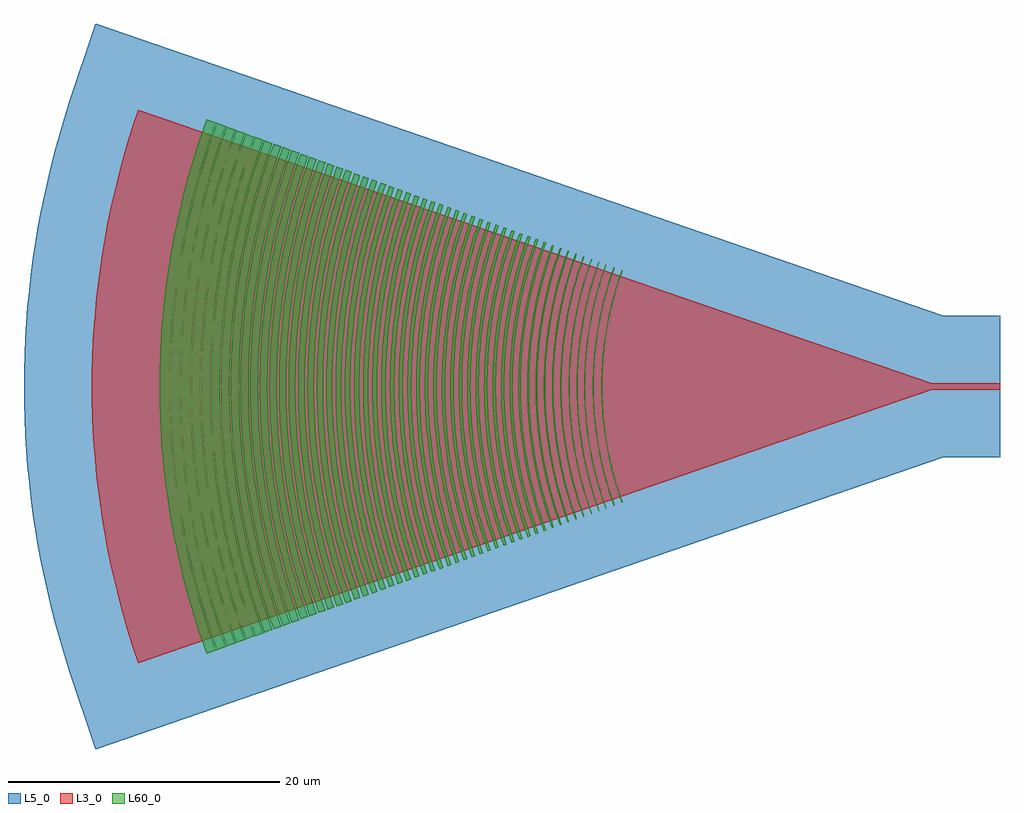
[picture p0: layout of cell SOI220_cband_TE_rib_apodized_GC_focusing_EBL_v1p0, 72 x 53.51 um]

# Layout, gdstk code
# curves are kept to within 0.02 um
import gdstk
lib = gdstk.Library(unit=1e-6, precision=1e-09)
def P(c, l, *ps):  # polygons
    for p in ps: c.add(gdstk.Polygon(p, *l))
L3_0 = (3, 0)
L5_0 = (5, 0)
L60_0 = (60, 0)

soi220_cband_te_rib_apod = lib.new_cell('SOI220_cband_TE_rib_apodized_GC_focusing_EBL_v1p0')
P(soi220_cband_te_rib_apod, L3_0, [(-63.588,-20.398),(-64.574,-17.27),(-65.14,-15.157),(-65.85,-11.955),(-66.23,-9.801),(-66.534,-7.636),(-66.763,-5.461),(-66.963,-2.187),(-67.001,0),(-66.963,2.187),(-66.763,5.461),(-66.534,7.636),(-66.23,9.801),(-65.85,11.955),(-65.14,15.157),(-64.574,17.27),(-63.588,20.398),(-5,0.225),(0,0.225),(0,-0.225),(-5,-0.225)])
P(soi220_cband_te_rib_apod, L5_0, [(-66.688,-26.753),(-66.748,-26.723),(-68.69,-20.904),(-69.38,-18.649),(-69.992,-16.366),(-70.523,-14.066),(-70.758,-12.909),(-71.169,-10.583),(-71.497,-8.246),(-71.631,-7.073),(-71.744,-5.896),(-71.908,-3.542),(-71.96,-2.361),(-72.001,0),(-71.96,2.361),(-71.908,3.542),(-71.744,5.896),(-71.631,7.073),(-71.497,8.246),(-71.169,10.583),(-70.758,12.909),(-70.523,14.066),(-69.992,16.366),(-69.38,18.649),(-68.69,20.904),(-66.748,26.723),(-66.688,26.753),(-4.163,5.225),(0,5.225),(0,-5.225),(-4.163,-5.225)])
P(soi220_cband_te_rib_apod, L60_0, [(-27.895,-8.571),(-28.042,-8.159),(-28.247,-7.536),(-28.437,-6.908),(-28.553,-6.486),(-28.813,-5.424),(-28.947,-4.781),(-29.026,-4.351),(-29.131,-3.704),(-29.221,-3.054),(-29.312,-2.184),(-29.383,-1.093),(-29.407,0),(-29.383,1.093),(-29.312,2.184),(-29.221,3.054),(-29.131,3.704),(-29.026,4.351),(-28.947,4.781),(-28.813,5.424),(-28.553,6.486),(-28.437,6.908),(-28.247,7.536),(-28.042,8.159),(-27.895,8.571),(-27.839,8.551),(-28.055,7.933),(-28.255,7.309),(-28.438,6.681),(-28.604,6.048),(-28.801,5.198),(-29.004,4.126),(-29.161,3.047),(-29.252,2.179),(-29.323,1.09),(-29.347,0),(-29.323,-1.09),(-29.252,-2.179),(-29.161,-3.047),(-29.004,-4.126),(-28.801,-5.198),(-28.604,-6.048),(-28.438,-6.681),(-28.255,-7.309),(-28.055,-7.933),(-27.839,-8.551)],
  [(-28.487,-8.786),(-28.638,-8.364),(-28.848,-7.725),(-28.98,-7.296),(-29.162,-6.65),(-29.428,-5.56),(-29.647,-4.461),(-29.817,-3.353),(-29.897,-2.685),(-29.939,-2.239),(-29.975,-1.792),(-30.013,-1.121),(-30.037,0),(-30.013,1.121),(-29.975,1.792),(-29.939,2.239),(-29.897,2.685),(-29.817,3.353),(-29.647,4.461),(-29.428,5.56),(-29.162,6.65),(-28.98,7.296),(-28.848,7.725),(-28.638,8.364),(-28.487,8.786),(-28.431,8.766),(-28.653,8.133),(-28.791,7.707),(-28.984,7.065),(-29.161,6.417),(-29.417,5.329),(-29.588,4.451),(-29.758,3.345),(-29.837,2.679),(-29.879,2.234),(-29.915,1.788),(-29.953,1.118),(-29.977,0),(-29.953,-1.118),(-29.915,-1.788),(-29.879,-2.234),(-29.837,-2.679),(-29.758,-3.345),(-29.588,-4.451),(-29.417,-5.329),(-29.161,-6.417),(-28.984,-7.065),(-28.791,-7.707),(-28.653,-8.133),(-28.431,-8.766)],
  [(-29.089,-9.005),(-29.316,-8.354),(-29.457,-7.917),(-29.592,-7.478),(-29.779,-6.814),(-29.894,-6.37),(-30.052,-5.699),(-30.148,-5.249),(-30.276,-4.572),(-30.352,-4.118),(-30.45,-3.437),(-30.507,-2.981),(-30.576,-2.294),(-30.627,-1.608),(-30.651,-1.149),(-30.667,-0.69),(-30.676,0),(-30.667,0.69),(-30.651,1.149),(-30.627,1.608),(-30.576,2.294),(-30.507,2.981),(-30.45,3.437),(-30.352,4.118),(-30.276,4.572),(-30.148,5.249),(-30.052,5.699),(-29.894,6.37),(-29.779,6.814),(-29.592,7.478),(-29.457,7.917),(-29.316,8.354),(-29.089,9.005),(-29.032,8.985),(-29.259,8.335),(-29.468,7.68),(-29.661,7.02),(-29.836,6.355),(-30.089,5.237),(-30.256,4.336),(-30.42,3.201),(-30.472,2.746),(-30.535,2.061),(-30.591,1.146),(-30.607,0.688),(-30.616,0),(-30.6,-0.917),(-30.567,-1.604),(-30.535,-2.061),(-30.495,-2.518),(-30.42,-3.201),(-30.256,-4.336),(-30.089,-5.237),(-29.836,-6.355),(-29.661,-7.02),(-29.468,-7.68),(-29.259,-8.335),(-29.032,-8.985)],
  [(-29.603,-9.192),(-29.76,-8.75),(-29.98,-8.082),(-30.118,-7.633),(-30.308,-6.956),(-30.587,-5.817),(-30.685,-5.358),(-30.816,-4.667),(-30.994,-3.508),(-31.052,-3.043),(-31.122,-2.342),(-31.159,-1.875),(-31.198,-1.173),(-31.215,-0.704),(-31.224,0),(-31.215,0.704),(-31.198,1.173),(-31.159,1.875),(-31.122,2.342),(-31.052,3.043),(-30.994,3.508),(-30.816,4.667),(-30.685,5.358),(-30.587,5.817),(-30.308,6.956),(-30.118,7.633),(-29.98,8.082),(-29.76,8.75),(-29.603,9.192),(-29.547,9.172),(-29.703,8.731),(-29.923,8.064),(-30.125,7.392),(-30.31,6.714),(-30.477,6.033),(-30.578,5.576),(-30.757,4.657),(-30.935,3.5),(-30.992,3.036),(-31.062,2.337),(-31.099,1.871),(-31.138,1.17),(-31.155,0.702),(-31.164,0),(-31.155,-0.702),(-31.138,-1.17),(-31.099,-1.871),(-31.062,-2.337),(-30.992,-3.036),(-30.935,-3.5),(-30.757,-4.657),(-30.578,-5.576),(-30.477,-6.033),(-30.31,-6.714),(-30.125,-7.392),(-29.923,-8.064),(-29.703,-8.731),(-29.547,-9.172)],
  [(-30.153,-9.392),(-30.314,-8.942),(-30.539,-8.258),(-30.68,-7.8),(-30.874,-7.108),(-30.994,-6.644),(-31.159,-5.944),(-31.306,-5.24),(-31.393,-4.768),(-31.472,-4.296),(-31.575,-3.585),(-31.634,-3.109),(-31.706,-2.393),(-31.759,-1.677),(-31.784,-1.198),(-31.801,-0.719),(-31.81,0),(-31.801,0.719),(-31.784,1.198),(-31.759,1.677),(-31.706,2.393),(-31.634,3.109),(-31.575,3.585),(-31.472,4.296),(-31.393,4.768),(-31.306,5.24),(-31.159,5.944),(-30.994,6.644),(-30.874,7.108),(-30.68,7.8),(-30.539,8.258),(-30.314,8.942),(-30.153,9.392),(-30.097,9.372),(-30.334,8.695),(-30.553,8.012),(-30.753,7.323),(-30.936,6.629),(-31.048,6.164),(-31.2,5.463),(-31.374,4.523),(-31.449,4.05),(-31.546,3.34),(-31.666,2.15),(-31.724,1.195),(-31.741,0.717),(-31.75,0),(-31.741,-0.717),(-31.724,-1.195),(-31.666,-2.15),(-31.546,-3.34),(-31.449,-4.05),(-31.374,-4.523),(-31.2,-5.463),(-31.048,-6.164),(-30.936,-6.629),(-30.753,-7.323),(-30.553,-8.012),(-30.334,-8.695),(-30.097,-9.372)],
  [(-30.741,-9.606),(-31.134,-8.446),(-31.477,-7.27),(-31.768,-6.079),(-32.007,-4.877),(-32.193,-3.666),(-32.281,-2.936),(-32.327,-2.448),(-32.407,-1.225),(-32.434,0),(-32.407,1.225),(-32.327,2.448),(-32.281,2.936),(-32.193,3.666),(-32.007,4.877),(-31.768,6.079),(-31.477,7.27),(-31.134,8.446),(-30.741,9.606),(-30.669,9.58),(-30.91,8.888),(-31.134,8.19),(-31.339,7.486),(-31.526,6.776),(-31.796,5.584),(-31.974,4.623),(-32.149,3.414),(-32.272,2.198),(-32.341,0.978),(-32.358,0),(-32.341,-0.978),(-32.272,-2.198),(-32.149,-3.414),(-31.974,-4.623),(-31.796,-5.584),(-31.526,-6.776),(-31.339,-7.486),(-31.134,-8.19),(-30.91,-8.888),(-30.669,-9.58)],
  [(-31.311,-9.814),(-31.714,-8.629),(-32.064,-7.427),(-32.362,-6.211),(-32.607,-4.983),(-32.796,-3.745),(-32.933,-2.501),(-33.015,-1.252),(-33.042,0),(-33.015,1.252),(-32.933,2.501),(-32.796,3.745),(-32.607,4.983),(-32.362,6.211),(-32.064,7.427),(-31.714,8.629),(-31.311,9.814),(-31.222,9.782),(-31.469,9.075),(-31.697,8.362),(-32.036,7.161),(-32.322,5.946),(-32.555,4.72),(-32.734,3.485),(-32.859,2.244),(-32.93,0.998),(-32.947,0),(-32.93,-0.998),(-32.859,-2.244),(-32.734,-3.485),(-32.555,-4.72),(-32.322,-5.946),(-32.036,-7.161),(-31.697,-8.362),(-31.469,-9.075),(-31.222,-9.782)],
  [(-31.884,-10.022),(-32.137,-9.299),(-32.37,-8.568),(-32.718,-7.337),(-33.011,-6.092),(-33.25,-4.837),(-33.4,-3.824),(-33.54,-2.554),(-33.623,-1.278),(-33.651,0),(-33.623,1.278),(-33.54,2.554),(-33.4,3.824),(-33.25,4.837),(-33.011,6.092),(-32.718,7.337),(-32.37,8.568),(-32.137,9.299),(-31.884,10.022),(-31.787,9.987),(-32.196,8.781),(-32.553,7.558),(-32.856,6.32),(-33.148,4.82),(-33.298,3.811),(-33.437,2.545),(-33.52,1.274),(-33.548,0),(-33.52,-1.274),(-33.437,-2.545),(-33.298,-3.811),(-33.148,-4.82),(-32.856,-6.32),(-32.553,-7.558),(-32.196,-8.781),(-31.787,-9.987)],
  [(-32.459,-10.231),(-32.878,-8.996),(-33.244,-7.743),(-33.554,-6.475),(-33.808,-5.194),(-34.007,-3.905),(-34.15,-2.608),(-34.235,-1.305),(-34.263,0),(-34.235,1.305),(-34.15,2.608),(-34.007,3.905),(-33.808,5.194),(-33.554,6.475),(-33.244,7.743),(-32.878,8.996),(-32.459,10.231),(-32.342,10.189),(-32.76,8.959),(-33.124,7.711),(-33.433,6.448),(-33.73,4.917),(-33.917,3.631),(-34.026,2.597),(-34.111,1.3),(-34.139,0),(-34.111,-1.3),(-34.026,-2.597),(-33.917,-3.631),(-33.73,-4.917),(-33.433,-6.448),(-33.124,-7.711),(-32.76,-8.959),(-32.342,-10.189)],
  [(-33.044,-10.445),(-33.472,-9.183),(-33.845,-7.904),(-34.163,-6.61),(-34.422,-5.303),(-34.625,-3.986),(-34.769,-2.661),(-34.857,-1.332),(-34.886,0),(-34.857,1.332),(-34.769,2.661),(-34.625,3.986),(-34.422,5.303),(-34.163,6.61),(-33.845,7.904),(-33.472,9.183),(-33.044,10.445),(-32.909,10.396),(-33.414,8.887),(-33.774,7.61),(-34.132,6.06),(-34.368,4.755),(-34.547,3.441),(-34.648,2.385),(-34.713,1.326),(-34.742,0),(-34.713,-1.326),(-34.648,-2.385),(-34.547,-3.441),(-34.368,-4.755),(-34.132,-6.06),(-33.774,-7.61),(-33.414,-8.887),(-32.909,-10.396)],
  [(-33.648,-10.663),(-34.085,-9.377),(-34.465,-8.07),(-34.789,-6.748),(-35.054,-5.414),(-35.262,-4.07),(-35.409,-2.718),(-35.498,-1.36),(-35.528,0),(-35.498,1.36),(-35.409,2.718),(-35.262,4.07),(-35.054,5.414),(-34.789,6.748),(-34.465,8.07),(-34.085,9.377),(-33.648,10.663),(-33.49,10.607),(-33.925,9.326),(-34.372,7.765),(-34.682,6.448),(-34.978,4.852),(-35.161,3.511),(-35.264,2.433),(-35.341,1.082),(-35.36,0),(-35.341,-1.082),(-35.264,-2.433),(-35.161,-3.511),(-34.978,-4.852),(-34.682,-6.448),(-34.372,-7.765),(-33.925,-9.326),(-33.49,-10.607)],
  [(-34.258,-10.886),(-34.704,-9.571),(-35.093,-8.238),(-35.423,-6.889),(-35.694,-5.527),(-35.905,-4.155),(-36.056,-2.775),(-36.147,-1.388),(-36.177,0),(-36.147,1.388),(-36.056,2.775),(-35.905,4.155),(-35.694,5.527),(-35.423,6.889),(-35.093,8.238),(-34.704,9.571),(-34.258,10.886),(-34.057,10.814),(-34.501,9.507),(-34.957,7.916),(-35.273,6.574),(-35.575,4.946),(-35.761,3.579),(-35.867,2.481),(-35.945,1.103),(-35.964,0),(-35.945,-1.103),(-35.867,-2.481),(-35.761,-3.579),(-35.575,-4.946),(-35.273,-6.574),(-34.957,-7.916),(-34.501,-9.507),(-34.057,-10.814)],
  [(-34.855,-11.103),(-35.31,-9.762),(-35.706,-8.402),(-36.042,-7.027),(-36.318,-5.638),(-36.534,-4.238),(-36.688,-2.83),(-36.781,-1.416),(-36.812,0),(-36.781,1.416),(-36.688,2.83),(-36.534,4.238),(-36.318,5.638),(-36.042,7.027),(-35.706,8.402),(-35.31,9.762),(-34.855,11.103),(-34.629,11.022),(-35.081,9.69),(-35.546,8.068),(-35.925,6.425),(-36.218,4.763),(-36.365,3.648),(-36.494,2.248),(-36.572,0),(-36.494,-2.248),(-36.365,-3.648),(-36.218,-4.763),(-35.925,-6.425),(-35.546,-8.068),(-35.081,-9.69),(-34.629,-11.022)],
  [(-35.442,-11.317),(-35.907,-9.95),(-36.311,-8.565),(-36.653,-7.162),(-36.935,-5.746),(-37.155,-4.319),(-37.312,-2.885),(-37.407,-1.444),(-37.438,0),(-37.407,1.444),(-37.312,2.885),(-37.155,4.319),(-36.935,5.746),(-36.653,7.162),(-36.311,8.565),(-35.907,9.95),(-35.442,11.317),(-35.21,11.233),(-35.756,9.603),(-36.145,8.223),(-36.532,6.548),(-36.787,5.138),(-36.98,3.718),(-37.09,2.577),(-37.16,1.433),(-37.191,0),(-37.16,-1.433),(-37.09,-2.577),(-36.98,-3.718),(-36.787,-5.138),(-36.532,-6.548),(-36.145,-8.223),(-35.756,-9.603),(-35.21,-11.233)],
  [(-36.034,-11.531),(-36.506,-10.14),(-36.918,-8.728),(-37.268,-7.298),(-37.555,-5.855),(-37.779,-4.402),(-37.939,-2.939),(-38.035,-1.471),(-38.067,0),(-38.035,1.471),(-37.939,2.939),(-37.779,4.402),(-37.555,5.855),(-37.268,7.298),(-36.918,8.728),(-36.506,10.14),(-36.034,11.531),(-35.799,11.447),(-36.355,9.786),(-36.751,8.38),(-37.086,6.959),(-37.405,5.236),(-37.568,4.079),(-37.714,2.626),(-37.797,1.168),(-37.817,0),(-37.797,-1.168),(-37.714,-2.626),(-37.568,-4.079),(-37.405,-5.236),(-37.086,-6.959),(-36.751,-8.38),(-36.355,-9.786),(-35.799,-11.447)],
  [(-36.617,-11.744),(-37.098,-10.327),(-37.517,-8.887),(-37.873,-7.432),(-38.165,-5.963),(-38.393,-4.483),(-38.556,-2.993),(-38.655,-1.498),(-38.687,0),(-38.655,1.498),(-38.556,2.993),(-38.393,4.483),(-38.165,5.963),(-37.873,7.432),(-37.517,8.887),(-37.098,10.327),(-36.617,11.744),(-36.39,11.663),(-36.868,10.254),(-37.36,8.538),(-37.701,7.09),(-38.026,5.334),(-38.192,4.156),(-38.341,2.675),(-38.414,1.487),(-38.446,0),(-38.414,-1.487),(-38.341,-2.675),(-38.192,-4.156),(-38.026,-5.334),(-37.701,-7.09),(-37.36,-8.538),(-36.868,-10.254),(-36.39,-11.663)],
  [(-37.199,-11.957),(-37.689,-10.513),(-38.116,-9.048),(-38.478,-7.567),(-38.776,-6.071),(-39.008,-4.563),(-39.174,-3.047),(-39.274,-1.525),(-39.307,0),(-39.274,1.525),(-39.174,3.047),(-39.008,4.563),(-38.776,6.071),(-38.478,7.567),(-38.116,9.048),(-37.689,10.513),(-37.199,11.957),(-36.973,11.875),(-37.46,10.441),(-37.961,8.693),(-38.37,6.922),(-38.64,5.431),(-38.844,3.93),(-38.96,2.724),(-39.046,1.212),(-39.067,0),(-39.046,-1.212),(-38.96,-2.724),(-38.844,-3.93),(-38.64,-5.431),(-38.37,-6.922),(-37.961,-8.693),(-37.46,-10.441),(-36.973,-11.875)],
  [(-37.782,-12.168),(-38.28,-10.699),(-38.715,-9.209),(-39.083,-7.701),(-39.386,-6.178),(-39.623,-4.644),(-39.792,-3.101),(-39.893,-1.552),(-39.927,0),(-39.893,1.552),(-39.792,3.101),(-39.623,4.644),(-39.386,6.178),(-39.083,7.701),(-38.715,9.209),(-38.28,10.699),(-37.782,12.168),(-37.557,12.087),(-38.144,10.333),(-38.562,8.849),(-38.979,7.046),(-39.253,5.529),(-39.425,4.307),(-39.579,2.773),(-39.654,1.542),(-39.688,0),(-39.654,-1.542),(-39.579,-2.773),(-39.425,-4.307),(-39.253,-5.529),(-38.979,-7.046),(-38.562,-8.849),(-38.144,-10.333),(-37.557,-12.087)],
  [(-38.37,-12.383),(-38.879,-10.887),(-39.321,-9.371),(-39.696,-7.837),(-40.004,-6.287),(-40.244,-4.726),(-40.416,-3.156),(-40.52,-1.58),(-40.554,0),(-40.52,1.58),(-40.416,3.156),(-40.244,4.726),(-40.004,6.287),(-39.696,7.837),(-39.321,9.371),(-38.879,10.887),(-38.37,12.383),(-38.138,12.299),(-38.736,10.514),(-39.162,9.004),(-39.585,7.169),(-39.864,5.625),(-40.076,4.071),(-40.196,2.821),(-40.273,1.569),(-40.307,0),(-40.273,-1.569),(-40.196,-2.821),(-40.076,-4.071),(-39.864,-5.625),(-39.585,-7.169),(-39.162,-9.004),(-38.736,-10.514),(-38.138,-12.299)],
  [(-38.959,-12.595),(-39.475,-11.076),(-39.924,-9.533),(-40.306,-7.972),(-40.619,-6.396),(-40.864,-4.808),(-41.039,-3.21),(-41.144,-1.607),(-41.179,0),(-41.144,1.607),(-41.039,3.21),(-40.864,4.808),(-40.619,6.396),(-40.306,7.972),(-39.924,9.533),(-39.475,11.076),(-38.959,12.595),(-38.728,12.513),(-39.241,11.002),(-39.769,9.161),(-40.2,7.294),(-40.484,5.723),(-40.699,4.142),(-40.821,2.871),(-40.912,1.277),(-40.934,0),(-40.912,-1.277),(-40.821,-2.871),(-40.699,-4.142),(-40.484,-5.723),(-40.2,-7.294),(-39.769,-9.161),(-39.241,-11.002),(-38.728,-12.513)],
  [(-39.549,-12.812),(-40.074,-11.265),(-40.531,-9.695),(-40.92,-8.109),(-41.239,-6.506),(-41.488,-4.889),(-41.665,-3.265),(-41.773,-1.634),(-41.808,0),(-41.773,1.634),(-41.665,3.265),(-41.488,4.889),(-41.239,6.506),(-40.92,8.109),(-40.531,9.695),(-40.074,11.265),(-39.549,12.812),(-39.308,12.725),(-39.83,11.188),(-40.367,9.315),(-40.739,7.735),(-41.094,5.82),(-41.275,4.534),(-41.437,2.919),(-41.517,1.623),(-41.552,0),(-41.517,-1.623),(-41.437,-2.919),(-41.275,-4.534),(-41.094,-5.82),(-40.739,-7.735),(-40.367,-9.315),(-39.83,-11.188),(-39.308,-12.725)],
  [(-40.145,-13.028),(-40.678,-11.456),(-41.143,-9.859),(-41.538,-8.245),(-41.862,-6.615),(-42.115,-4.972),(-42.296,-3.32),(-42.405,-1.662),(-42.441,0),(-42.405,1.662),(-42.296,3.32),(-42.115,4.972),(-41.862,6.615),(-41.538,8.245),(-41.143,9.859),(-40.678,11.456),(-40.145,13.028),(-39.896,12.939),(-40.426,11.376),(-40.972,9.472),(-41.418,7.542),(-41.711,5.918),(-41.934,4.282),(-42.06,2.968),(-42.141,1.65),(-42.177,0),(-42.141,-1.65),(-42.06,-2.968),(-41.934,-4.282),(-41.711,-5.918),(-41.418,-7.542),(-40.972,-9.472),(-40.426,-11.376),(-39.896,-12.939)],
  [(-40.742,-13.246),(-41.285,-11.646),(-41.759,-10.024),(-42.16,-8.382),(-42.49,-6.726),(-42.747,-5.055),(-42.931,-3.375),(-43.041,-1.69),(-43.078,0),(-43.041,1.69),(-42.931,3.375),(-42.747,5.055),(-42.49,6.726),(-42.16,8.382),(-41.759,10.024),(-41.285,11.646),(-40.742,13.246),(-40.479,13.151),(-41.118,11.242),(-41.573,9.627),(-41.958,7.994),(-42.325,6.015),(-42.551,4.353),(-42.679,3.017),(-42.775,1.342),(-42.798,0),(-42.775,-1.342),(-42.679,-3.017),(-42.551,-4.353),(-42.325,-6.015),(-41.958,-7.994),(-41.573,-9.627),(-41.118,-11.242),(-40.479,-13.151)],
  [(-41.343,-13.465),(-41.895,-11.839),(-42.377,-10.19),(-42.785,-8.522),(-43.12,-6.836),(-43.381,-5.139),(-43.568,-3.432),(-43.681,-1.717),(-43.718,0),(-43.681,1.717),(-43.568,3.432),(-43.381,5.139),(-43.12,6.836),(-42.785,8.522),(-42.377,10.19),(-41.895,11.839),(-41.343,13.465),(-41.066,13.365),(-41.716,11.425),(-42.178,9.784),(-42.639,7.791),(-42.942,6.113),(-43.132,4.762),(-43.303,3.066),(-43.386,1.704),(-43.423,0),(-43.386,-1.704),(-43.303,-3.066),(-43.132,-4.762),(-42.942,-6.113),(-42.639,-7.791),(-42.178,-9.784),(-41.716,-11.425),(-41.066,-13.365)],
  [(-41.948,-13.684),(-42.508,-12.032),(-42.996,-10.356),(-43.412,-8.66),(-43.752,-6.948),(-44.017,-5.222),(-44.208,-3.487),(-44.322,-1.745),(-44.36,0),(-44.322,1.745),(-44.208,3.487),(-44.017,5.222),(-43.752,6.948),(-43.412,8.66),(-42.996,10.356),(-42.508,12.032),(-41.948,13.684),(-41.655,13.579),(-42.314,11.608),(-42.87,9.605),(-43.32,7.575),(-43.613,5.868),(-43.794,4.494),(-43.927,3.115),(-44.025,1.386),(-44.049,0),(-44.025,-1.386),(-43.927,-3.115),(-43.794,-4.494),(-43.613,-5.868),(-43.32,-7.575),(-42.87,-9.605),(-42.314,-11.608),(-41.655,-13.579)],
  [(-42.555,-13.905),(-43.124,-12.227),(-43.621,-10.523),(-44.042,-8.8),(-44.388,-7.06),(-44.658,-5.306),(-44.852,-3.544),(-44.968,-1.773),(-45.006,0),(-44.968,1.773),(-44.852,3.544),(-44.658,5.306),(-44.388,7.06),(-44.042,8.8),(-43.621,10.523),(-43.124,12.227),(-42.555,13.905),(-42.246,13.794),(-42.916,11.792),(-43.48,9.757),(-43.937,7.696),(-44.235,5.961),(-44.419,4.566),(-44.554,3.164),(-44.64,1.759),(-44.678,0),(-44.64,-1.759),(-44.554,-3.164),(-44.419,-4.566),(-44.235,-5.961),(-43.937,-7.696),(-43.48,-9.757),(-42.916,-11.792),(-42.246,-13.794)],
  [(-43.167,-14.127),(-43.745,-12.422),(-44.249,-10.692),(-44.678,-8.941),(-45.03,-7.173),(-45.304,-5.392),(-45.5,-3.6),(-45.618,-1.802),(-45.657,0),(-45.618,1.802),(-45.5,3.6),(-45.304,5.392),(-45.03,7.173),(-44.678,8.941),(-44.249,10.692),(-43.745,12.422),(-43.167,14.127),(-42.841,14.011),(-43.521,11.977),(-44.006,10.257),(-44.489,8.167),(-44.861,6.055),(-45.048,4.637),(-45.185,3.214),(-45.286,1.43),(-45.311,0),(-45.286,-1.43),(-45.185,-3.214),(-45.048,-4.637),(-44.861,-6.055),(-44.489,-8.167),(-44.006,-10.257),(-43.521,-11.977),(-42.841,-14.011)],
  [(-43.786,-14.353),(-44.373,-12.62),(-44.886,-10.862),(-45.321,-9.083),(-45.678,-7.288),(-45.957,-5.478),(-46.157,-3.658),(-46.276,-1.831),(-46.316,0),(-46.276,1.831),(-46.157,3.658),(-45.957,5.478),(-45.678,7.288),(-45.321,9.083),(-44.886,10.862),(-44.373,12.62),(-43.786,14.353),(-43.444,14.23),(-44.135,12.164),(-44.628,10.417),(-45.118,8.295),(-45.496,6.15),(-45.686,4.71),(-45.852,2.902),(-45.928,1.452),(-45.953,0),(-45.928,-1.452),(-45.852,-2.902),(-45.686,-4.71),(-45.496,-6.15),(-45.118,-8.295),(-44.628,-10.417),(-44.135,-12.164),(-43.444,-14.23)],
  [(-44.413,-14.58),(-45.009,-12.821),(-45.53,-11.035),(-45.972,-9.229),(-46.335,-7.404),(-46.619,-5.565),(-46.821,-3.717),(-46.943,-1.86),(-46.983,0),(-46.943,1.86),(-46.821,3.717),(-46.619,5.565),(-46.335,7.404),(-45.972,9.229),(-45.53,11.035),(-45.009,12.821),(-44.413,14.58),(-44.054,14.452),(-44.756,12.354),(-45.347,10.222),(-45.826,8.063),(-46.138,6.246),(-46.33,4.783),(-46.472,3.315),(-46.562,1.843),(-46.602,0),(-46.562,-1.843),(-46.472,-3.315),(-46.33,-4.783),(-46.138,-6.246),(-45.826,-8.063),(-45.347,-10.222),(-44.756,-12.354),(-44.054,-14.452)],
  [(-45.045,-14.811),(-45.652,-13.023),(-46.18,-11.209),(-46.63,-9.374),(-46.998,-7.521),(-47.286,-5.653),(-47.491,-3.775),(-47.615,-1.889),(-47.656,0),(-47.615,1.889),(-47.491,3.775),(-47.286,5.653),(-46.998,7.521),(-46.63,9.374),(-46.18,11.209),(-45.652,13.023),(-45.045,14.811),(-44.671,14.677),(-45.273,12.904),(-45.892,10.744),(-46.398,8.555),(-46.788,6.343),(-46.983,4.858),(-47.127,3.367),(-47.233,1.498),(-47.259,0),(-47.233,-1.498),(-47.127,-3.367),(-46.983,-4.858),(-46.788,-6.343),(-46.398,-8.555),(-45.892,-10.744),(-45.273,-12.904),(-44.671,-14.677)],
  [(-45.683,-15.044),(-46.3,-13.228),(-46.837,-11.385),(-47.293,-9.521),(-47.668,-7.639),(-47.959,-5.742),(-48.168,-3.835),(-48.295,-1.919),(-48.336,0),(-48.295,1.919),(-48.168,3.835),(-47.959,5.742),(-47.668,7.639),(-47.293,9.521),(-46.837,11.385),(-46.3,13.228),(-45.683,15.044),(-45.294,14.904),(-46.018,12.74),(-46.628,10.542),(-47.121,8.315),(-47.443,6.441),(-47.642,4.933),(-47.788,3.419),(-47.881,1.901),(-47.922,0),(-47.881,-1.901),(-47.788,-3.419),(-47.642,-4.933),(-47.443,-6.441),(-47.121,-8.315),(-46.628,-10.542),(-46.018,-12.74),(-45.294,-14.904)],
  [(-46.327,-15.277),(-46.952,-13.433),(-47.497,-11.562),(-47.961,-9.669),(-48.342,-7.757),(-48.637,-5.831),(-48.85,-3.894),(-48.978,-1.949),(-49.02,0),(-48.978,1.949),(-48.85,3.894),(-48.637,5.831),(-48.342,7.757),(-47.961,9.669),(-47.497,11.562),(-46.952,13.433),(-46.327,15.277),(-45.923,15.132),(-46.658,12.936),(-47.277,10.704),(-47.703,8.821),(-48.105,6.54),(-48.307,5.009),(-48.455,3.471),(-48.549,1.93),(-48.591,0),(-48.549,-1.93),(-48.455,-3.471),(-48.307,-5.009),(-48.105,-6.54),(-47.703,-8.821),(-47.277,-10.704),(-46.658,-12.936),(-45.923,-15.132)],
  [(-46.972,-15.513),(-47.607,-13.64),(-48.162,-11.74),(-48.632,-9.817),(-49.018,-7.876),(-49.319,-5.921),(-49.534,-3.954),(-49.664,-1.979),(-49.707,0),(-49.664,1.979),(-49.534,3.954),(-49.319,5.921),(-49.018,7.876),(-48.632,9.817),(-48.162,11.74),(-47.607,13.64),(-46.972,15.513),(-46.553,15.362),(-47.299,13.132),(-47.928,10.866),(-48.437,8.57),(-48.769,6.639),(-48.973,5.085),(-49.124,3.524),(-49.235,1.568),(-49.262,0),(-49.235,-1.568),(-49.124,-3.524),(-48.973,-5.085),(-48.769,-6.639),(-48.437,-8.57),(-47.928,-10.866),(-47.299,-13.132),(-46.553,-15.362)],
  [(-47.621,-15.748),(-48.266,-13.847),(-48.828,-11.919),(-49.305,-9.966),(-49.697,-7.997),(-50.003,-6.011),(-50.222,-4.013),(-50.354,-2.009),(-50.397,0),(-50.354,2.009),(-50.222,4.013),(-50.003,6.011),(-49.697,7.997),(-49.305,9.966),(-48.828,11.919),(-48.266,13.847),(-47.621,15.748),(-47.188,15.593),(-47.945,13.329),(-48.485,11.415),(-49.022,9.089),(-49.436,6.739),(-49.644,5.161),(-49.826,3.18),(-49.909,1.591),(-49.937,0),(-49.909,-1.591),(-49.826,-3.18),(-49.644,-5.161),(-49.436,-6.739),(-49.022,-9.089),(-48.485,-11.415),(-47.945,-13.329),(-47.188,-15.593)],
  [(-48.272,-15.984),(-48.927,-14.056),(-49.497,-12.098),(-49.982,-10.117),(-50.38,-8.117),(-50.69,-6.101),(-50.912,-4.073),(-51.046,-2.039),(-51.09,0),(-51.046,2.039),(-50.912,4.073),(-50.69,6.101),(-50.38,8.117),(-49.982,10.117),(-49.497,12.098),(-48.927,14.056),(-48.272,15.984),(-47.824,15.824),(-48.592,13.527),(-49.24,11.193),(-49.764,8.828),(-50.106,6.839),(-50.361,4.836),(-50.501,3.227),(-50.586,1.615),(-50.614,0),(-50.586,-1.615),(-50.501,-3.227),(-50.361,-4.836),(-50.106,-6.839),(-49.764,-8.828),(-49.24,-11.193),(-48.592,-13.527),(-47.824,-15.824)],
  [(-48.927,-16.223),(-49.591,-14.266),(-50.17,-12.278),(-50.662,-10.267),(-51.067,-8.237),(-51.381,-6.192),(-51.606,-4.135),(-51.742,-2.069),(-51.787,0),(-51.742,2.069),(-51.606,4.135),(-51.381,6.192),(-51.067,8.237),(-50.662,10.267),(-50.17,12.278),(-49.591,14.266),(-48.927,16.223),(-48.464,16.057),(-49.244,13.726),(-49.8,11.755),(-50.353,9.36),(-50.779,6.939),(-51.038,4.907),(-51.181,3.275),(-51.266,1.638),(-51.295,0),(-51.266,-1.638),(-51.181,-3.275),(-51.038,-4.907),(-50.779,-6.939),(-50.353,-9.36),(-49.8,-11.755),(-49.244,-13.726),(-48.464,-16.057)],
  [(-49.583,-16.463),(-50.257,-14.476),(-50.846,-12.459),(-51.345,-10.419),(-51.754,-8.36),(-52.075,-6.284),(-52.303,-4.195),(-52.441,-2.1),(-52.486,0),(-52.441,2.1),(-52.303,4.195),(-52.075,6.284),(-51.754,8.36),(-51.345,10.419),(-50.846,12.459),(-50.257,14.476),(-49.583,16.463),(-49.105,16.291),(-49.773,14.323),(-50.355,12.328),(-50.849,10.309),(-51.254,8.271),(-51.571,6.217),(-51.797,4.151),(-51.933,2.078),(-51.978,0),(-51.933,-2.078),(-51.797,-4.151),(-51.571,-6.217),(-51.254,-8.271),(-50.849,-10.309),(-50.355,-12.328),(-49.773,-14.323),(-49.105,-16.291)],
  [(-50.243,-16.703),(-50.928,-14.687),(-51.524,-12.641),(-52.031,-10.571),(-52.446,-8.481),(-52.771,-6.375),(-53.002,-4.256),(-53.141,-2.131),(-53.188,0),(-53.141,2.131),(-53.002,4.256),(-52.771,6.375),(-52.446,8.481),(-52.031,10.571),(-51.524,12.641),(-50.928,14.687),(-50.243,16.703),(-49.75,16.525),(-50.428,14.529),(-51.018,12.505),(-51.519,10.458),(-51.93,8.39),(-52.251,6.307),(-52.48,4.211),(-52.618,2.108),(-52.664,0),(-52.618,-2.108),(-52.48,-4.211),(-52.251,-6.307),(-51.93,-8.39),(-51.519,-10.458),(-51.018,-12.505),(-50.428,-14.529),(-49.75,-16.525)],
  [(-50.907,-16.943),(-51.601,-14.899),(-52.206,-12.824),(-52.719,-10.724),(-53.141,-8.604),(-53.47,-6.468),(-53.706,-4.318),(-53.846,-2.161),(-53.894,0),(-53.846,2.161),(-53.706,4.318),(-53.47,6.468),(-53.141,8.604),(-52.719,10.724),(-52.206,12.824),(-51.601,14.899),(-50.907,16.943),(-50.398,16.761),(-51.085,14.736),(-51.683,12.684),(-52.191,10.607),(-52.608,8.51),(-52.934,6.397),(-53.167,4.271),(-53.306,2.138),(-53.353,0),(-53.306,-2.138),(-53.167,-4.271),(-52.934,-6.397),(-52.608,-8.51),(-52.191,-10.607),(-51.683,-12.684),(-51.085,-14.736),(-50.398,-16.761)],
  [(-51.573,-17.186),(-52.277,-15.111),(-52.891,-13.007),(-53.412,-10.878),(-53.84,-8.727),(-54.173,-6.56),(-54.412,-4.38),(-54.555,-2.192),(-54.603,0),(-54.555,2.192),(-54.412,4.38),(-54.173,6.56),(-53.84,8.727),(-53.412,10.878),(-52.891,13.007),(-52.277,15.111),(-51.573,17.186),(-51.048,16.998),(-51.745,14.944),(-52.352,12.863),(-52.867,10.757),(-53.29,8.63),(-53.62,6.487),(-53.856,4.331),(-53.998,2.168),(-54.045,0),(-53.998,-2.168),(-53.856,-4.331),(-53.62,-6.487),(-53.29,-8.63),(-52.867,-10.757),(-52.352,-12.863),(-51.745,-14.944),(-51.048,-16.998)],
  [(-52.242,-17.43),(-52.956,-15.326),(-53.578,-13.192),(-54.106,-11.032),(-54.54,-8.851),(-54.879,-6.653),(-55.121,-4.442),(-55.266,-2.223),(-55.315,0),(-55.266,2.223),(-55.121,4.442),(-54.879,6.653),(-54.54,8.851),(-54.106,11.032),(-53.578,13.192),(-52.956,15.326),(-52.242,17.43),(-51.701,17.235),(-52.408,15.153),(-53.023,13.043),(-53.545,10.907),(-53.974,8.751),(-54.309,6.578),(-54.548,4.392),(-54.692,2.198),(-54.74,0),(-54.692,-2.198),(-54.548,-4.392),(-54.309,-6.578),(-53.974,-8.751),(-53.545,-10.907),(-53.023,-13.043),(-52.408,-15.153),(-51.701,-17.235)],
  [(-52.914,-17.674),(-53.637,-15.542),(-54.269,-13.376),(-54.805,-11.186),(-55.245,-8.975),(-55.588,-6.746),(-55.834,-4.505),(-55.98,-2.255),(-56.03,0),(-55.98,2.255),(-55.834,4.505),(-55.588,6.746),(-55.245,8.975),(-54.805,11.186),(-54.269,13.376),(-53.637,15.542),(-52.914,17.674),(-52.357,17.474),(-53.073,15.363),(-53.697,13.223),(-54.227,11.058),(-54.662,8.872),(-55.001,6.669),(-55.244,4.453),(-55.389,2.229),(-55.438,0),(-55.389,-2.229),(-55.244,-4.453),(-55.001,-6.669),(-54.662,-8.872),(-54.227,-11.058),(-53.697,-13.223),(-53.073,-15.363),(-52.357,-17.474)],
  [(-53.589,-17.919),(-54.323,-15.757),(-54.962,-13.563),(-55.506,-11.341),(-55.952,-9.1),(-56.3,-6.84),(-56.549,-4.567),(-56.698,-2.285),(-56.748,0),(-56.698,2.285),(-56.549,4.567),(-56.3,6.84),(-55.952,9.1),(-55.506,11.341),(-54.962,13.563),(-54.323,15.757),(-53.589,17.919),(-53.016,17.714),(-53.742,15.574),(-54.374,13.405),(-54.911,11.21),(-55.352,8.994),(-55.696,6.76),(-55.942,4.514),(-56.09,2.259),(-56.139,0),(-56.09,-2.259),(-55.942,-4.514),(-55.696,-6.76),(-55.352,-8.994),(-54.911,-11.21),(-54.374,-13.405),(-53.742,-15.574),(-53.016,-17.714)],
  [(-54.267,-18.167),(-55.011,-15.974),(-55.66,-13.749),(-56.211,-11.498),(-56.663,-9.225),(-57.016,-6.934),(-57.268,-4.63),(-57.419,-2.317),(-57.47,0),(-57.419,2.317),(-57.268,4.63),(-57.016,6.934),(-56.663,9.225),(-56.211,11.498),(-55.66,13.749),(-55.011,15.974),(-54.267,18.167),(-53.677,17.955),(-54.413,15.786),(-55.054,13.587),(-55.599,11.362),(-56.045,9.116),(-56.394,6.852),(-56.643,4.575),(-56.793,2.29),(-56.843,0),(-56.793,-2.29),(-56.643,-4.575),(-56.394,-6.852),(-56.045,-9.116),(-55.599,-11.362),(-55.054,-13.587),(-54.413,-15.786),(-53.677,-17.955)],
  [(-54.948,-18.415),(-55.703,-16.192),(-56.36,-13.937),(-56.919,-11.655),(-57.377,-9.351),(-57.735,-7.028),(-57.991,-4.693),(-58.143,-2.35),(-58.195,0),(-58.143,2.35),(-57.991,4.693),(-57.735,7.028),(-57.377,9.351),(-56.919,11.655),(-56.36,13.937),(-55.703,16.192),(-54.948,18.415),(-54.341,18.196),(-55.088,15.998),(-55.737,13.77),(-56.289,11.515),(-56.742,9.239),(-57.095,6.944),(-57.348,4.637),(-57.499,2.321),(-57.55,0),(-57.499,-2.321),(-57.348,-4.637),(-57.095,-6.944),(-56.742,-9.239),(-56.289,-11.515),(-55.737,-13.77),(-55.088,-15.998),(-54.341,-18.196)],
  [(-55.634,-18.664),(-56.398,-16.411),(-57.064,-14.126),(-57.63,-11.813),(-58.095,-9.478),(-58.457,-7.124),(-58.716,-4.757),(-58.872,-2.381),(-58.924,0),(-58.872,2.381),(-58.716,4.757),(-58.457,7.124),(-58.095,9.478),(-57.63,11.813),(-57.064,14.126),(-56.398,16.411),(-55.634,18.664),(-55.01,18.44),(-55.766,16.212),(-56.424,13.954),(-56.983,11.669),(-57.442,9.362),(-57.8,7.037),(-58.056,4.699),(-58.21,2.352),(-58.261,0),(-58.21,-2.352),(-58.056,-4.699),(-57.8,-7.037),(-57.442,-9.362),(-56.983,-11.669),(-56.424,-13.954),(-55.766,-16.212),(-55.01,-18.44)],
  [(-56.33,-18.917),(-57.104,-16.635),(-57.78,-14.317),(-58.354,-11.973),(-58.825,-9.607),(-59.192,-7.221),(-59.454,-4.822),(-59.612,-2.413),(-59.665,0),(-59.612,2.413),(-59.454,4.822),(-59.192,7.221),(-58.825,9.607),(-58.354,11.973),(-57.78,14.317),(-57.104,16.635),(-56.33,18.917),(-55.689,18.687),(-56.455,16.43),(-57.122,14.141),(-57.689,11.826),(-58.154,9.488),(-58.517,7.132),(-58.776,4.762),(-58.932,2.383),(-58.984,0),(-58.932,-2.383),(-58.776,-4.762),(-58.517,-7.132),(-58.154,-9.488),(-57.689,-11.826),(-57.122,-14.141),(-56.455,-16.43),(-55.689,-18.687)],
  [(-57.043,-19.178),(-57.83,-16.862),(-58.514,-14.514),(-59.095,-12.137),(-59.573,-9.738),(-59.945,-7.319),(-60.211,-4.888),(-60.371,-2.446),(-60.425,0),(-60.371,2.446),(-60.211,4.888),(-59.945,7.319),(-59.573,9.738),(-59.095,12.137),(-58.514,14.514),(-57.83,16.862),(-57.043,19.178),(-56.385,18.94),(-57.162,16.652),(-57.838,14.333),(-58.412,11.986),(-58.884,9.616),(-59.251,7.228),(-59.514,4.827),(-59.672,2.416),(-59.725,0),(-59.672,-2.416),(-59.514,-4.827),(-59.251,-7.228),(-58.884,-9.616),(-58.412,-11.986),(-57.838,-14.333),(-57.162,-16.652),(-56.385,-18.94)],
  [(-57.775,-19.443),(-58.572,-17.097),(-59.265,-14.716),(-59.855,-12.305),(-60.339,-9.873),(-60.717,-7.421),(-60.986,-4.955),(-61.149,-2.481),(-61.203,0),(-61.149,2.481),(-60.986,4.955),(-60.717,7.421),(-60.339,9.873),(-59.855,12.305),(-59.265,14.716),(-58.572,17.097),(-57.775,19.443),(-57.099,19.2),(-57.887,16.881),(-58.572,14.53),(-59.154,12.15),(-59.632,9.748),(-60.005,7.327),(-60.271,4.893),(-60.432,2.449),(-60.485,0),(-60.432,-2.449),(-60.271,-4.893),(-60.005,-7.327),(-59.632,-9.748),(-59.154,-12.15),(-58.572,-14.53),(-57.887,-16.881),(-57.099,-19.2)],
  [(-58.526,-19.714),(-59.333,-17.337),(-60.037,-14.922),(-60.634,-12.479),(-61.125,-10.011),(-61.508,-7.526),(-61.781,-5.026),(-61.946,-2.515),(-62.001,0),(-61.946,2.515),(-61.781,5.026),(-61.508,7.526),(-61.125,10.011),(-60.634,12.479),(-60.037,14.922),(-59.333,17.337),(-58.526,19.714),(-57.831,19.466),(-58.629,17.115),(-59.324,14.731),(-59.914,12.319),(-60.398,9.883),(-60.776,7.429),(-61.046,4.961),(-61.209,2.483),(-61.263,0),(-61.209,-2.483),(-61.046,-4.961),(-60.776,-7.429),(-60.398,-9.883),(-59.914,-12.319),(-59.324,-14.731),(-58.629,-17.115),(-57.831,-19.466)])

lib.write_gds('SOI220_cband_TE_rib_apodized_GC_focusing_EBL_v1p0.gds')
